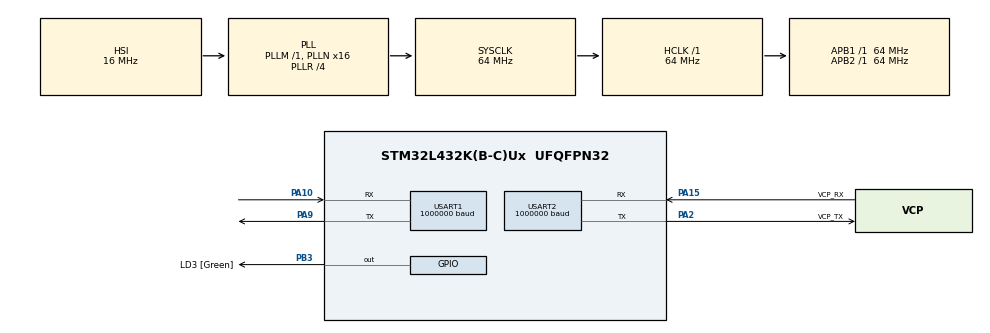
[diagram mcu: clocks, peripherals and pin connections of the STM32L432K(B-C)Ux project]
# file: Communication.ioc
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Mcu.Family=STM32L4
Mcu.Name=STM32L432K(B-C)Ux
Mcu.Package=UFQFPN32
NVIC.PriorityGroup=NVIC_PRIORITYGROUP_4
NVIC.USART1_IRQn=true\:0\:0\:false\:false\:true
NVIC.USART2_IRQn=true\:0\:0\:false\:false\:true
PA0.GPIO_Label=MCO [High speed clock in]
PA0.Signal=RCC_CK_IN
PA10.Mode=Asynchronous
PA10.Signal=USART1_RX
PA13\ (JTMS-SWDIO).GPIO_Label=SWDIO
PA13\ (JTMS-SWDIO).Signal=SYS_JTMS-SWDIO
PA14\ (JTCK-SWCLK).GPIO_Label=SWCLK
PA14\ (JTCK-SWCLK).Signal=SYS_JTCK-SWCLK
PA15\ (JTDI).GPIO_Label=VCP_RX
PA15\ (JTDI).Mode=Asynchronous
PA15\ (JTDI).Signal=USART2_RX
PA2.GPIO_Label=VCP_TX
PA2.Mode=Asynchronous
PA2.Signal=USART2_TX
PA9.Mode=Asynchronous
PA9.Signal=USART1_TX
PB3\ (JTDO-TRACESWO).GPIO_Label=LD3 [Green]
PB3\ (JTDO-TRACESWO).Signal=GPIO_Output
PC14-OSC32_IN\ (PC14).Signal=RCC_OSC32_IN
PC15-OSC32_OUT\ (PC15).Signal=RCC_OSC32_OUT
ProjectManager.HeapSize=0x200
ProjectManager.StackSize=0x400
ProjectManager.TargetToolchain=SW4STM32
RCC.ADCFreq_Value=64000000
RCC.AHBFreq_Value=64000000
RCC.APB1Freq_Value=64000000
RCC.APB1TimFreq_Value=64000000
RCC.APB2Freq_Value=64000000
RCC.APB2TimFreq_Value=64000000
RCC.CortexFreq_Value=64000000
RCC.HCLKFreq_Value=64000000
RCC.HSE_VALUE=8000000
RCC.HSI16_VALUE=16000000
RCC.HSI48_VALUE=48000000
RCC.HSI_VALUE=16000000
RCC.LSE_VALUE=32768
RCC.MSI_VALUE=4000000
RCC.PLLMUL=RCC_PLLMUL_4
RCC.PLLN=16
RCC.PLLR=RCC_PLLR_DIV4
RCC.PLLSourceVirtual=RCC_PLLSOURCE_HSI
RCC.SYSCLKFreq_VALUE=64000000
RCC.SYSCLKSource=RCC_SYSCLKSOURCE_PLLCLK
RCC.USBFreq_Value=64000000
RCC.VCOOutputFreq_Value=256000000
USART1.BaudRate=1000000
USART1.VirtualMode-Asynchronous=VM_ASYNC
USART1.WordLength=WORDLENGTH_8B
USART2.BaudRate=1000000
USART2.VirtualMode-Asynchronous=VM_ASYNC
USART2.WordLength=WORDLENGTH_8B
board=NUCLEO-L432KC

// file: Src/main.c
/**
  ******************************************************************************
  * File Name          : main.c
  * Description        : Main program body
  ******************************************************************************
  ** This notice applies to any and all portions of this file
  * that are not between comment pairs USER CODE BEGIN and
  * USER CODE END. Other portions of this file, whether
  * inserted by the user or by software development tools
  * are owned by their respective copyright owners.
  *
  * COPYRIGHT(c) 2018 STMicroelectronics
  *
  * Redistribution and use in source and binary forms, with or without modification,
  * are permitted provided that the following conditions are met:
  *   1. Redistributions of source code must retain the above copyright notice,
  *      this list of conditions and the following disclaimer.
  *   2. Redistributions in binary form must reproduce the above copyright notice,
  *      this list of conditions and the following disclaimer in the documentation
  *      and/or other materials provided with the distribution.
  *   3. Neither the name of STMicroelectronics nor the names of its contributors
  *      may be used to endorse or promote products derived from this software
  *      without specific prior written permission.
  *
  * THIS SOFTWARE IS PROVIDED BY THE COPYRIGHT HOLDERS AND CONTRIBUTORS "AS IS"
  * AND ANY EXPRESS OR IMPLIED WARRANTIES, INCLUDING, BUT NOT LIMITED TO, THE
  * IMPLIED WARRANTIES OF MERCHANTABILITY AND FITNESS FOR A PARTICULAR PURPOSE ARE
  * DISCLAIMED. IN NO EVENT SHALL THE COPYRIGHT HOLDER OR CONTRIBUTORS BE LIABLE
  * FOR ANY DIRECT, INDIRECT, INCIDENTAL, SPECIAL, EXEMPLARY, OR CONSEQUENTIAL
  * DAMAGES (INCLUDING, BUT NOT LIMITED TO, PROCUREMENT OF SUBSTITUTE GOODS OR
  * SERVICES; LOSS OF USE, DATA, OR PROFITS; OR BUSINESS INTERRUPTION) HOWEVER
  * CAUSED AND ON ANY THEORY OF LIABILITY, WHETHER IN CONTRACT, STRICT LIABILITY,
  * OR TORT (INCLUDING NEGLIGENCE OR OTHERWISE) ARISING IN ANY WAY OUT OF THE USE
  * OF THIS SOFTWARE, EVEN IF ADVISED OF THE POSSIBILITY OF SUCH DAMAGE.
  *
  ******************************************************************************
  */
#include "main.h"
#include "stm32l4xx_hal.h"

/* USER CODE BEGIN Includes */
#include <robotGoal.h>
#include <robotState.h>
#include <stdint.h>
#include "serial.h"
#include "string.h"
/* USER CODE END Includes */

UART_HandleTypeDef huart1;
UART_HandleTypeDef huart2;

/* USER CODE BEGIN PV */
/* Private variables ---------------------------------------------------------*/
volatile uint8_t ledState;

RobotGoal robotGoal, *robotGoalPtr;
unsigned char robotGoalData[sizeof(RobotGoal)];
unsigned char *robotGoalDataPtr;

unsigned char buf[10];

unsigned startSeqCount;
unsigned totalBytesRead;

RobotState robotState, *robotStatePtr;

/* USER CODE END PV */

void SystemClock_Config(void);
static void MX_GPIO_Init(void);
static void MX_USART2_UART_Init(void);
static void MX_USART1_UART_Init(void);

/* USER CODE BEGIN PFP */
/* Private function prototypes -----------------------------------------------*/

/* USER CODE END PFP */

int main(void)
{

  /* MCU Configuration----------------------------------------------------------*/

  /* Reset of all peripherals, Initializes the Flash interface and the Systick. */
  HAL_Init();

  /* Configure the system clock */
  SystemClock_Config();

  /* Initialize all configured peripherals */
  MX_GPIO_Init();
  MX_USART2_UART_Init();
  MX_USART1_UART_Init();

  /* USER CODE BEGIN 2 */

	// Blink the LED
	ledState = 0;

	// Receiving
	robotGoal.id = 0;
	robotGoalPtr = &robotGoal;
	robotGoalDataPtr = robotGoalData;
	startSeqCount = 0;
	totalBytesRead = 0;

	// Sending
	robotState.id = 0;
	robotStatePtr = &robotState;
	robotState.start_seq = UINT32_MAX;
	robotState.end_seq = 0;

	HAL_UART_Receive_IT(&huart2, (unsigned char *) buf, sizeof(buf));

  /* USER CODE END 2 */

  /* Infinite loop */
	while (1) {

  /* USER CODE BEGIN 3 */

		robotState.id = robotGoal.id;
		for(int i = 0; i < 80; ++i) {
			robotState.msg[i] = robotGoal.msg[i];
		}

		send_state(robotStatePtr);
		HAL_UART_Receive_IT(&huart2, (unsigned char *) buf, sizeof(buf));
		HAL_Delay(10);
	}
  /* USER CODE END 3 */

}

/** System Clock Configuration
*/
void SystemClock_Config(void)
{

  RCC_OscInitTypeDef RCC_OscInitStruct;
  RCC_ClkInitTypeDef RCC_ClkInitStruct;
  RCC_PeriphCLKInitTypeDef PeriphClkInit;

    /**Initializes the CPU, AHB and APB busses clocks
    */
  RCC_OscInitStruct.OscillatorType = RCC_OSCILLATORTYPE_HSI;
  RCC_OscInitStruct.HSIState = RCC_HSI_ON;
  RCC_OscInitStruct.HSICalibrationValue = 16;
  RCC_OscInitStruct.PLL.PLLState = RCC_PLL_ON;
  RCC_OscInitStruct.PLL.PLLSource = RCC_PLLSOURCE_HSI;
  RCC_OscInitStruct.PLL.PLLM = 1;
  RCC_OscInitStruct.PLL.PLLN = 16;
  RCC_OscInitStruct.PLL.PLLP = RCC_PLLP_DIV7;
  RCC_OscInitStruct.PLL.PLLQ = RCC_PLLQ_DIV2;
  RCC_OscInitStruct.PLL.PLLR = RCC_PLLR_DIV4;
  if (HAL_RCC_OscConfig(&RCC_OscInitStruct) != HAL_OK)
  {
    _Error_Handler(__FILE__, __LINE__);
  }

    /**Initializes the CPU, AHB and APB busses clocks
    */
  RCC_ClkInitStruct.ClockType = RCC_CLOCKTYPE_HCLK|RCC_CLOCKTYPE_SYSCLK
                              |RCC_CLOCKTYPE_PCLK1|RCC_CLOCKTYPE_PCLK2;
  RCC_ClkInitStruct.SYSCLKSource = RCC_SYSCLKSOURCE_PLLCLK;
  RCC_ClkInitStruct.AHBCLKDivider = RCC_SYSCLK_DIV1;
  RCC_ClkInitStruct.APB1CLKDivider = RCC_HCLK_DIV1;
  RCC_ClkInitStruct.APB2CLKDivider = RCC_HCLK_DIV1;

  if (HAL_RCC_ClockConfig(&RCC_ClkInitStruct, FLASH_LATENCY_3) != HAL_OK)
  {
    _Error_Handler(__FILE__, __LINE__);
  }

  PeriphClkInit.PeriphClockSelection = RCC_PERIPHCLK_USART1|RCC_PERIPHCLK_USART2;
  PeriphClkInit.Usart1ClockSelection = RCC_USART1CLKSOURCE_PCLK2;
  PeriphClkInit.Usart2ClockSelection = RCC_USART2CLKSOURCE_PCLK1;
  if (HAL_RCCEx_PeriphCLKConfig(&PeriphClkInit) != HAL_OK)
  {
    _Error_Handler(__FILE__, __LINE__);
  }

    /**Configure the main internal regulator output voltage
    */
  if (HAL_PWREx_ControlVoltageScaling(PWR_REGULATOR_VOLTAGE_SCALE1) != HAL_OK)
  {
    _Error_Handler(__FILE__, __LINE__);
  }

    /**Configure the Systick interrupt time
    */
  HAL_SYSTICK_Config(HAL_RCC_GetHCLKFreq()/1000);

    /**Configure the Systick
    */
  HAL_SYSTICK_CLKSourceConfig(SYSTICK_CLKSOURCE_HCLK);

  /* SysTick_IRQn interrupt configuration */
  HAL_NVIC_SetPriority(SysTick_IRQn, 1, 0);
}

/* USART1 init function */
static void MX_USART1_UART_Init(void)
{

  huart1.Instance = USART1;
  huart1.Init.BaudRate = 1000000;
  huart1.Init.WordLength = UART_WORDLENGTH_8B;
  huart1.Init.StopBits = UART_STOPBITS_1;
  huart1.Init.Parity = UART_PARITY_NONE;
  huart1.Init.Mode = UART_MODE_TX_RX;
  huart1.Init.HwFlowCtl = UART_HWCONTROL_NONE;
  huart1.Init.OverSampling = UART_OVERSAMPLING_16;
  huart1.Init.OneBitSampling = UART_ONE_BIT_SAMPLE_DISABLE;
  huart1.AdvancedInit.AdvFeatureInit = UART_ADVFEATURE_NO_INIT;
  if (HAL_UART_Init(&huart1) != HAL_OK)
  {
    _Error_Handler(__FILE__, __LINE__);
  }

}

/* USART2 init function */
static void MX_USART2_UART_Init(void)
{

  huart2.Instance = USART2;
  huart2.Init.BaudRate = 1000000;
  huart2.Init.WordLength = UART_WORDLENGTH_8B;
  huart2.Init.StopBits = UART_STOPBITS_1;
  huart2.Init.Parity = UART_PARITY_NONE;
  huart2.Init.Mode = UART_MODE_TX_RX;
  huart2.Init.HwFlowCtl = UART_HWCONTROL_NONE;
  huart2.Init.OverSampling = UART_OVERSAMPLING_16;
  huart2.Init.OneBitSampling = UART_ONE_BIT_SAMPLE_DISABLE;
  huart2.AdvancedInit.AdvFeatureInit = UART_ADVFEATURE_NO_INIT;
  if (HAL_UART_Init(&huart2) != HAL_OK)
  {
    _Error_Handler(__FILE__, __LINE__);
  }

}

/** Configure pins as
        * Analog
        * Input
        * Output
        * EVENT_OUT
        * EXTI
*/
static void MX_GPIO_Init(void)
{

  GPIO_InitTypeDef GPIO_InitStruct;

  /* GPIO Ports Clock Enable */
  __HAL_RCC_GPIOC_CLK_ENABLE();
  __HAL_RCC_GPIOA_CLK_ENABLE();
  __HAL_RCC_GPIOB_CLK_ENABLE();

  /*Configure GPIO pin Output Level */
  HAL_GPIO_WritePin(LD3_GPIO_Port, LD3_Pin, GPIO_PIN_RESET);

  /*Configure GPIO pin : LD3_Pin */
  GPIO_InitStruct.Pin = LD3_Pin;
  GPIO_InitStruct.Mode = GPIO_MODE_OUTPUT_PP;
  GPIO_InitStruct.Pull = GPIO_NOPULL;
  GPIO_InitStruct.Speed = GPIO_SPEED_FREQ_LOW;
  HAL_GPIO_Init(LD3_GPIO_Port, &GPIO_InitStruct);

}

/* USER CODE BEGIN 4 */
void HAL_UART_RxCpltCallback(UART_HandleTypeDef * huart) {
	if (huart == &huart2) {
		HAL_UART_AbortReceive_IT(&huart2);

		for(int i = 0; i < sizeof(buf); ++i) {
			if(startSeqCount == 4) {
				*robotGoalDataPtr = buf[i];
				robotGoalDataPtr++;
				totalBytesRead++;

				if(totalBytesRead == sizeof(RobotGoal)) {

					// Process RobotGoal here
					memcpy(&robotGoal, robotGoalData, sizeof(RobotGoal));

					ledState = !ledState;
					HAL_GPIO_WritePin(LD3_GPIO_Port, LD3_Pin, ledState);

					robotGoalDataPtr = robotGoalData;
					startSeqCount = 0;
					totalBytesRead = 0;
					continue;
				}
			}
			else {
				if(buf[i] == 255)
					startSeqCount++;
				else
					startSeqCount = 0;
			}
		}

		HAL_UART_Receive_IT(&huart2, (unsigned char *) &buf, sizeof(buf));
	}
}
/* USER CODE END 4 */

void _Error_Handler(char * file, int line)
{
	while (1) {
	}
}

/************************ (C) COPYRIGHT STMicroelectronics *****END OF FILE****/
